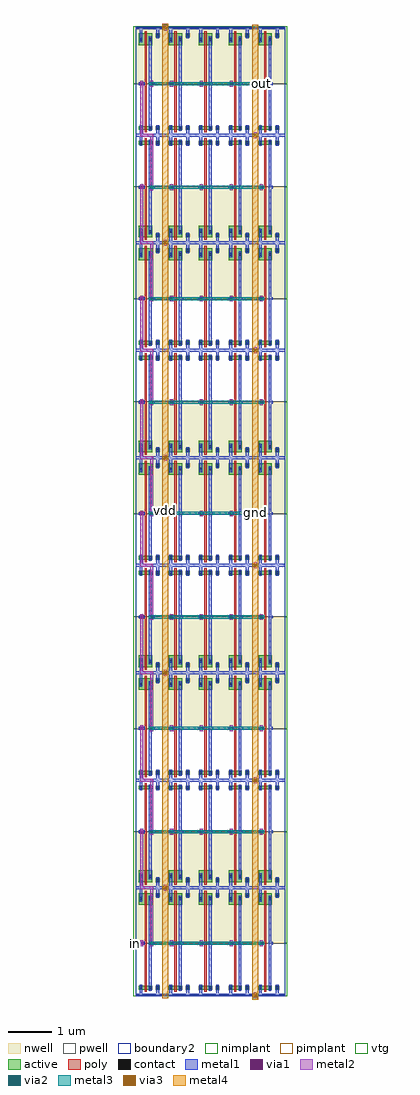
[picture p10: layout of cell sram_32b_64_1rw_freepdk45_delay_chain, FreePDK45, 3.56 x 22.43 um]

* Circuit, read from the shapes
.subckt sram_32b_64_1rw_freepdk45_delay_chain gnd in out vdd
M1 sram_32b_64_1rw_freepdk45_pinv_18_1/A in gnd gnd nfet w=0.09u l=0.05u
M2 sram_32b_64_1rw_freepdk45_pinv_18_10/A sram_32b_64_1rw_freepdk45_pinv_18_1/A gnd gnd nfet w=0.09u l=0.05u
M3 sram_32b_64_1rw_freepdk45_pinv_18_11/A sram_32b_64_1rw_freepdk45_pinv_18_10/A gnd gnd nfet w=0.09u l=0.05u
M4 sram_32b_64_1rw_freepdk45_pinv_18_16/A sram_32b_64_1rw_freepdk45_pinv_18_11/A gnd gnd nfet w=0.09u l=0.05u
M5 sram_32b_64_1rw_freepdk45_pinv_18_21/A sram_32b_64_1rw_freepdk45_pinv_18_16/A gnd gnd nfet w=0.09u l=0.05u
M6 sram_32b_64_1rw_freepdk45_pinv_18_26/A sram_32b_64_1rw_freepdk45_pinv_18_21/A gnd gnd nfet w=0.09u l=0.05u
M7 sram_32b_64_1rw_freepdk45_pinv_18_31/A sram_32b_64_1rw_freepdk45_pinv_18_26/A gnd gnd nfet w=0.09u l=0.05u
M8 sram_32b_64_1rw_freepdk45_pinv_18_36/A sram_32b_64_1rw_freepdk45_pinv_18_31/A gnd gnd nfet w=0.09u l=0.05u
M9 out sram_32b_64_1rw_freepdk45_pinv_18_36/A gnd gnd nfet w=0.09u l=0.05u
M10 sram_32b_64_1rw_freepdk45_pinv_18_1/Z sram_32b_64_1rw_freepdk45_pinv_18_1/A gnd gnd nfet w=0.09u l=0.05u
M11 sram_32b_64_1rw_freepdk45_pinv_18_6/Z sram_32b_64_1rw_freepdk45_pinv_18_10/A gnd gnd nfet w=0.09u l=0.05u
M12 sram_32b_64_1rw_freepdk45_pinv_18_11/Z sram_32b_64_1rw_freepdk45_pinv_18_11/A gnd gnd nfet w=0.09u l=0.05u
M13 sram_32b_64_1rw_freepdk45_pinv_18_16/Z sram_32b_64_1rw_freepdk45_pinv_18_16/A gnd gnd nfet w=0.09u l=0.05u
M14 sram_32b_64_1rw_freepdk45_pinv_18_21/Z sram_32b_64_1rw_freepdk45_pinv_18_21/A gnd gnd nfet w=0.09u l=0.05u
M15 sram_32b_64_1rw_freepdk45_pinv_18_26/Z sram_32b_64_1rw_freepdk45_pinv_18_26/A gnd gnd nfet w=0.09u l=0.05u
M16 sram_32b_64_1rw_freepdk45_pinv_18_31/Z sram_32b_64_1rw_freepdk45_pinv_18_31/A gnd gnd nfet w=0.09u l=0.05u
M17 sram_32b_64_1rw_freepdk45_pinv_18_36/Z sram_32b_64_1rw_freepdk45_pinv_18_36/A gnd gnd nfet w=0.09u l=0.05u
M18 sram_32b_64_1rw_freepdk45_pinv_18_41/Z out gnd gnd nfet w=0.09u l=0.05u
M19 sram_32b_64_1rw_freepdk45_pinv_18_2/Z sram_32b_64_1rw_freepdk45_pinv_18_1/A gnd gnd nfet w=0.09u l=0.05u
M20 sram_32b_64_1rw_freepdk45_pinv_18_7/Z sram_32b_64_1rw_freepdk45_pinv_18_10/A gnd gnd nfet w=0.09u l=0.05u
M21 sram_32b_64_1rw_freepdk45_pinv_18_12/Z sram_32b_64_1rw_freepdk45_pinv_18_11/A gnd gnd nfet w=0.09u l=0.05u
M22 sram_32b_64_1rw_freepdk45_pinv_18_17/Z sram_32b_64_1rw_freepdk45_pinv_18_16/A gnd gnd nfet w=0.09u l=0.05u
M23 sram_32b_64_1rw_freepdk45_pinv_18_22/Z sram_32b_64_1rw_freepdk45_pinv_18_21/A gnd gnd nfet w=0.09u l=0.05u
M24 sram_32b_64_1rw_freepdk45_pinv_18_27/Z sram_32b_64_1rw_freepdk45_pinv_18_26/A gnd gnd nfet w=0.09u l=0.05u
M25 sram_32b_64_1rw_freepdk45_pinv_18_32/Z sram_32b_64_1rw_freepdk45_pinv_18_31/A gnd gnd nfet w=0.09u l=0.05u
M26 sram_32b_64_1rw_freepdk45_pinv_18_37/Z sram_32b_64_1rw_freepdk45_pinv_18_36/A gnd gnd nfet w=0.09u l=0.05u
M27 sram_32b_64_1rw_freepdk45_pinv_18_42/Z out gnd gnd nfet w=0.09u l=0.05u
M28 sram_32b_64_1rw_freepdk45_pinv_18_3/Z sram_32b_64_1rw_freepdk45_pinv_18_1/A gnd gnd nfet w=0.09u l=0.05u
M29 sram_32b_64_1rw_freepdk45_pinv_18_8/Z sram_32b_64_1rw_freepdk45_pinv_18_10/A gnd gnd nfet w=0.09u l=0.05u
M30 sram_32b_64_1rw_freepdk45_pinv_18_13/Z sram_32b_64_1rw_freepdk45_pinv_18_11/A gnd gnd nfet w=0.09u l=0.05u
M31 sram_32b_64_1rw_freepdk45_pinv_18_18/Z sram_32b_64_1rw_freepdk45_pinv_18_16/A gnd gnd nfet w=0.09u l=0.05u
M32 sram_32b_64_1rw_freepdk45_pinv_18_23/Z sram_32b_64_1rw_freepdk45_pinv_18_21/A gnd gnd nfet w=0.09u l=0.05u
M33 sram_32b_64_1rw_freepdk45_pinv_18_28/Z sram_32b_64_1rw_freepdk45_pinv_18_26/A gnd gnd nfet w=0.09u l=0.05u
M34 sram_32b_64_1rw_freepdk45_pinv_18_33/Z sram_32b_64_1rw_freepdk45_pinv_18_31/A gnd gnd nfet w=0.09u l=0.05u
M35 sram_32b_64_1rw_freepdk45_pinv_18_38/Z sram_32b_64_1rw_freepdk45_pinv_18_36/A gnd gnd nfet w=0.09u l=0.05u
M36 sram_32b_64_1rw_freepdk45_pinv_18_43/Z out gnd gnd nfet w=0.09u l=0.05u
M37 sram_32b_64_1rw_freepdk45_pinv_18_4/Z sram_32b_64_1rw_freepdk45_pinv_18_1/A gnd gnd nfet w=0.09u l=0.05u
M38 sram_32b_64_1rw_freepdk45_pinv_18_9/Z sram_32b_64_1rw_freepdk45_pinv_18_10/A gnd gnd nfet w=0.09u l=0.05u
M39 sram_32b_64_1rw_freepdk45_pinv_18_14/Z sram_32b_64_1rw_freepdk45_pinv_18_11/A gnd gnd nfet w=0.09u l=0.05u
M40 sram_32b_64_1rw_freepdk45_pinv_18_19/Z sram_32b_64_1rw_freepdk45_pinv_18_16/A gnd gnd nfet w=0.09u l=0.05u
M41 sram_32b_64_1rw_freepdk45_pinv_18_24/Z sram_32b_64_1rw_freepdk45_pinv_18_21/A gnd gnd nfet w=0.09u l=0.05u
M42 sram_32b_64_1rw_freepdk45_pinv_18_29/Z sram_32b_64_1rw_freepdk45_pinv_18_26/A gnd gnd nfet w=0.09u l=0.05u
M43 sram_32b_64_1rw_freepdk45_pinv_18_34/Z sram_32b_64_1rw_freepdk45_pinv_18_31/A gnd gnd nfet w=0.09u l=0.05u
M44 sram_32b_64_1rw_freepdk45_pinv_18_39/Z sram_32b_64_1rw_freepdk45_pinv_18_36/A gnd gnd nfet w=0.09u l=0.05u
M45 sram_32b_64_1rw_freepdk45_pinv_18_44/Z out gnd gnd nfet w=0.09u l=0.05u
M46 sram_32b_64_1rw_freepdk45_pinv_18_1/A in vdd vdd pfet w=0.27u l=0.05u
M47 sram_32b_64_1rw_freepdk45_pinv_18_10/A sram_32b_64_1rw_freepdk45_pinv_18_1/A vdd vdd pfet w=0.27u l=0.05u
M48 sram_32b_64_1rw_freepdk45_pinv_18_11/A sram_32b_64_1rw_freepdk45_pinv_18_10/A vdd vdd pfet w=0.27u l=0.05u
M49 sram_32b_64_1rw_freepdk45_pinv_18_16/A sram_32b_64_1rw_freepdk45_pinv_18_11/A vdd vdd pfet w=0.27u l=0.05u
M50 sram_32b_64_1rw_freepdk45_pinv_18_21/A sram_32b_64_1rw_freepdk45_pinv_18_16/A vdd vdd pfet w=0.27u l=0.05u
M51 sram_32b_64_1rw_freepdk45_pinv_18_26/A sram_32b_64_1rw_freepdk45_pinv_18_21/A vdd vdd pfet w=0.27u l=0.05u
M52 sram_32b_64_1rw_freepdk45_pinv_18_31/A sram_32b_64_1rw_freepdk45_pinv_18_26/A vdd vdd pfet w=0.27u l=0.05u
M53 sram_32b_64_1rw_freepdk45_pinv_18_36/A sram_32b_64_1rw_freepdk45_pinv_18_31/A vdd vdd pfet w=0.27u l=0.05u
M54 out sram_32b_64_1rw_freepdk45_pinv_18_36/A vdd vdd pfet w=0.27u l=0.05u
M55 sram_32b_64_1rw_freepdk45_pinv_18_1/Z sram_32b_64_1rw_freepdk45_pinv_18_1/A vdd vdd pfet w=0.27u l=0.05u
M56 sram_32b_64_1rw_freepdk45_pinv_18_6/Z sram_32b_64_1rw_freepdk45_pinv_18_10/A vdd vdd pfet w=0.27u l=0.05u
M57 sram_32b_64_1rw_freepdk45_pinv_18_11/Z sram_32b_64_1rw_freepdk45_pinv_18_11/A vdd vdd pfet w=0.27u l=0.05u
M58 sram_32b_64_1rw_freepdk45_pinv_18_16/Z sram_32b_64_1rw_freepdk45_pinv_18_16/A vdd vdd pfet w=0.27u l=0.05u
M59 sram_32b_64_1rw_freepdk45_pinv_18_21/Z sram_32b_64_1rw_freepdk45_pinv_18_21/A vdd vdd pfet w=0.27u l=0.05u
M60 sram_32b_64_1rw_freepdk45_pinv_18_26/Z sram_32b_64_1rw_freepdk45_pinv_18_26/A vdd vdd pfet w=0.27u l=0.05u
M61 sram_32b_64_1rw_freepdk45_pinv_18_31/Z sram_32b_64_1rw_freepdk45_pinv_18_31/A vdd vdd pfet w=0.27u l=0.05u
M62 sram_32b_64_1rw_freepdk45_pinv_18_36/Z sram_32b_64_1rw_freepdk45_pinv_18_36/A vdd vdd pfet w=0.27u l=0.05u
M63 sram_32b_64_1rw_freepdk45_pinv_18_41/Z out vdd vdd pfet w=0.27u l=0.05u
M64 sram_32b_64_1rw_freepdk45_pinv_18_2/Z sram_32b_64_1rw_freepdk45_pinv_18_1/A vdd vdd pfet w=0.27u l=0.05u
M65 sram_32b_64_1rw_freepdk45_pinv_18_7/Z sram_32b_64_1rw_freepdk45_pinv_18_10/A vdd vdd pfet w=0.27u l=0.05u
M66 sram_32b_64_1rw_freepdk45_pinv_18_12/Z sram_32b_64_1rw_freepdk45_pinv_18_11/A vdd vdd pfet w=0.27u l=0.05u
M67 sram_32b_64_1rw_freepdk45_pinv_18_17/Z sram_32b_64_1rw_freepdk45_pinv_18_16/A vdd vdd pfet w=0.27u l=0.05u
M68 sram_32b_64_1rw_freepdk45_pinv_18_22/Z sram_32b_64_1rw_freepdk45_pinv_18_21/A vdd vdd pfet w=0.27u l=0.05u
M69 sram_32b_64_1rw_freepdk45_pinv_18_27/Z sram_32b_64_1rw_freepdk45_pinv_18_26/A vdd vdd pfet w=0.27u l=0.05u
M70 sram_32b_64_1rw_freepdk45_pinv_18_32/Z sram_32b_64_1rw_freepdk45_pinv_18_31/A vdd vdd pfet w=0.27u l=0.05u
M71 sram_32b_64_1rw_freepdk45_pinv_18_37/Z sram_32b_64_1rw_freepdk45_pinv_18_36/A vdd vdd pfet w=0.27u l=0.05u
M72 sram_32b_64_1rw_freepdk45_pinv_18_42/Z out vdd vdd pfet w=0.27u l=0.05u
M73 sram_32b_64_1rw_freepdk45_pinv_18_3/Z sram_32b_64_1rw_freepdk45_pinv_18_1/A vdd vdd pfet w=0.27u l=0.05u
M74 sram_32b_64_1rw_freepdk45_pinv_18_8/Z sram_32b_64_1rw_freepdk45_pinv_18_10/A vdd vdd pfet w=0.27u l=0.05u
M75 sram_32b_64_1rw_freepdk45_pinv_18_13/Z sram_32b_64_1rw_freepdk45_pinv_18_11/A vdd vdd pfet w=0.27u l=0.05u
M76 sram_32b_64_1rw_freepdk45_pinv_18_18/Z sram_32b_64_1rw_freepdk45_pinv_18_16/A vdd vdd pfet w=0.27u l=0.05u
M77 sram_32b_64_1rw_freepdk45_pinv_18_23/Z sram_32b_64_1rw_freepdk45_pinv_18_21/A vdd vdd pfet w=0.27u l=0.05u
M78 sram_32b_64_1rw_freepdk45_pinv_18_28/Z sram_32b_64_1rw_freepdk45_pinv_18_26/A vdd vdd pfet w=0.27u l=0.05u
M79 sram_32b_64_1rw_freepdk45_pinv_18_33/Z sram_32b_64_1rw_freepdk45_pinv_18_31/A vdd vdd pfet w=0.27u l=0.05u
M80 sram_32b_64_1rw_freepdk45_pinv_18_38/Z sram_32b_64_1rw_freepdk45_pinv_18_36/A vdd vdd pfet w=0.27u l=0.05u
M81 sram_32b_64_1rw_freepdk45_pinv_18_43/Z out vdd vdd pfet w=0.27u l=0.05u
M82 sram_32b_64_1rw_freepdk45_pinv_18_4/Z sram_32b_64_1rw_freepdk45_pinv_18_1/A vdd vdd pfet w=0.27u l=0.05u
M83 sram_32b_64_1rw_freepdk45_pinv_18_9/Z sram_32b_64_1rw_freepdk45_pinv_18_10/A vdd vdd pfet w=0.27u l=0.05u
M84 sram_32b_64_1rw_freepdk45_pinv_18_14/Z sram_32b_64_1rw_freepdk45_pinv_18_11/A vdd vdd pfet w=0.27u l=0.05u
M85 sram_32b_64_1rw_freepdk45_pinv_18_19/Z sram_32b_64_1rw_freepdk45_pinv_18_16/A vdd vdd pfet w=0.27u l=0.05u
M86 sram_32b_64_1rw_freepdk45_pinv_18_24/Z sram_32b_64_1rw_freepdk45_pinv_18_21/A vdd vdd pfet w=0.27u l=0.05u
M87 sram_32b_64_1rw_freepdk45_pinv_18_29/Z sram_32b_64_1rw_freepdk45_pinv_18_26/A vdd vdd pfet w=0.27u l=0.05u
M88 sram_32b_64_1rw_freepdk45_pinv_18_34/Z sram_32b_64_1rw_freepdk45_pinv_18_31/A vdd vdd pfet w=0.27u l=0.05u
M89 sram_32b_64_1rw_freepdk45_pinv_18_39/Z sram_32b_64_1rw_freepdk45_pinv_18_36/A vdd vdd pfet w=0.27u l=0.05u
M90 sram_32b_64_1rw_freepdk45_pinv_18_44/Z out vdd vdd pfet w=0.27u l=0.05u
.ends

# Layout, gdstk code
import gdstk
lib = gdstk.Library(unit=1e-6, precision=5e-10)
def R(c, l, rs):  # rectangles x0, y0, x1, y1
    for r in rs: c.add(gdstk.rectangle(r[:2], r[2:], *l))
def A(c, l, x, y, w, h, nx, ny, dx, dy):  # array of equal rectangles
    R(c, l, [(x+i*dx, y+j*dy, x+i*dx+w, y+j*dy+h) for i in range(nx) for j in range(ny)])
active = (1, 0)
pwell = (2, 0)
nwell = (3, 0)
nimplant = (4, 0)
pimplant = (5, 0)
vtg = (6, 0)
poly = (9, 0)
contact = (10, 0)
metal1 = (11, 0)
via1 = (12, 0)
metal2 = (13, 0)
via2 = (14, 0)
metal3 = (15, 0)
via3 = (16, 0)
metal4 = (17, 0)
boundary2 = (239, 0)

sram_32b_64_1rw_freepdk4 = lib.new_cell('sram_32b_64_1rw_freepdk45_contact_11')
R(sram_32b_64_1rw_freepdk4, active, [(0,0.0225,0.09,0.1125)])
R(sram_32b_64_1rw_freepdk4, nwell, [(-0.055,-0.0325,0.145,0.1675)])
R(sram_32b_64_1rw_freepdk4, pimplant, [(0,0.0225,0.09,0.1125)])
R(sram_32b_64_1rw_freepdk4, contact, [(0.0125,0.035,0.0775,0.1)])
R(sram_32b_64_1rw_freepdk4, metal1, [(0.0125,0,0.0775,0.135)])
R(sram_32b_64_1rw_freepdk4, boundary2, [(-0.055,-0.0325,0.145,0.1675)])

c_sram_32b_64_1rw_freepdk4 = lib.new_cell('sram_32b_64_1rw_freepdk45_pmos_m1_w0_270_sm1_dm1_da_p')
R(c_sram_32b_64_1rw_freepdk4, active, [(0,0,0.305,0.27)])
R(c_sram_32b_64_1rw_freepdk4, nwell, [(-0.08,-0.08,0.385,0.35)])
R(c_sram_32b_64_1rw_freepdk4, pimplant, [(0,0,0.305,0.27)])
R(c_sram_32b_64_1rw_freepdk4, vtg, [(-0.08,-0.08,0.385,0.35)])
R(c_sram_32b_64_1rw_freepdk4, poly, [(0.1275,-0.055,0.1775,0.325), (0.1275,-0.055,0.1775,0.325)])
R(c_sram_32b_64_1rw_freepdk4, metal1, [(0.0125,0.0675,0.0775,0.2025), (0.2275,0.0675,0.2925,0.2025)])
R(c_sram_32b_64_1rw_freepdk4, boundary2, [(-0.08,-0.08,0.385,0.35)])
c_sram_32b_64_1rw_freepdk4.add(gdstk.Reference(sram_32b_64_1rw_freepdk4, (0,0.0675)))
c_sram_32b_64_1rw_freepdk4.add(gdstk.Reference(sram_32b_64_1rw_freepdk4, (0.215,0.0675)))
c_sram_32b_64_1rw_freepdk4.add(gdstk.Label('G', (0.1525,0.135), layer=9, texttype=0))
c_sram_32b_64_1rw_freepdk4.add(gdstk.Label('S', (0.045,0.135), layer=11, texttype=0))
c_sram_32b_64_1rw_freepdk4.add(gdstk.Label('D', (0.26,0.135), layer=11, texttype=0))

c_sram_32b_64_1rw_freepdk4_ = lib.new_cell('sram_32b_64_1rw_freepdk45_contact_10')
R(c_sram_32b_64_1rw_freepdk4_, active, [(0,0.0225,0.09,0.1125)])
R(c_sram_32b_64_1rw_freepdk4_, pwell, [(-0.055,-0.0325,0.145,0.1675)])
R(c_sram_32b_64_1rw_freepdk4_, nimplant, [(0,0.0225,0.09,0.1125)])
R(c_sram_32b_64_1rw_freepdk4_, contact, [(0.0125,0.035,0.0775,0.1)])
R(c_sram_32b_64_1rw_freepdk4_, metal1, [(0.0125,0,0.0775,0.135)])
R(c_sram_32b_64_1rw_freepdk4_, boundary2, [(-0.055,-0.0325,0.145,0.1675)])

c_sram_32b_64_1rw_freepdk4__ = lib.new_cell('sram_32b_64_1rw_freepdk45_nmos_m1_w0_090_sm1_dm1_da_p')
R(c_sram_32b_64_1rw_freepdk4__, active, [(0,0,0.305,0.09)])
R(c_sram_32b_64_1rw_freepdk4__, pwell, [(-0.08,-0.08,0.385,0.17)])
R(c_sram_32b_64_1rw_freepdk4__, nimplant, [(0,0,0.305,0.09)])
R(c_sram_32b_64_1rw_freepdk4__, vtg, [(-0.08,-0.08,0.385,0.17)])
R(c_sram_32b_64_1rw_freepdk4__, poly, [(0.1275,-0.055,0.1775,0.145), (0.1275,-0.055,0.1775,0.145)])
R(c_sram_32b_64_1rw_freepdk4__, metal1, [(0.0125,-0.0225,0.0775,0.1125), (0.2275,-0.0225,0.2925,0.1125)])
R(c_sram_32b_64_1rw_freepdk4__, boundary2, [(-0.08,-0.08,0.385,0.17)])
c_sram_32b_64_1rw_freepdk4__.add(gdstk.Reference(c_sram_32b_64_1rw_freepdk4_, (0,-0.0225)))
c_sram_32b_64_1rw_freepdk4__.add(gdstk.Reference(c_sram_32b_64_1rw_freepdk4_, (0.215,-0.0225)))
c_sram_32b_64_1rw_freepdk4__.add(gdstk.Label('G', (0.1525,0.045), layer=9, texttype=0))
c_sram_32b_64_1rw_freepdk4__.add(gdstk.Label('S', (0.045,0.045), layer=11, texttype=0))
c_sram_32b_64_1rw_freepdk4__.add(gdstk.Label('D', (0.26,0.045), layer=11, texttype=0))

c_sram_32b_64_1rw_freepdk4___ = lib.new_cell('sram_32b_64_1rw_freepdk45_contact_12')
R(c_sram_32b_64_1rw_freepdk4___, active, [(0,0.0225,0.09,0.1125)])
R(c_sram_32b_64_1rw_freepdk4___, nwell, [(-0.055,-0.0325,0.145,0.1675)])
R(c_sram_32b_64_1rw_freepdk4___, nimplant, [(0,0.0225,0.09,0.1125)])
R(c_sram_32b_64_1rw_freepdk4___, contact, [(0.0125,0.035,0.0775,0.1)])
R(c_sram_32b_64_1rw_freepdk4___, metal1, [(0.0125,0,0.0775,0.135)])
R(c_sram_32b_64_1rw_freepdk4___, boundary2, [(-0.055,-0.0325,0.145,0.1675)])

c_sram_32b_64_1rw_freepdk4____ = lib.new_cell('sram_32b_64_1rw_freepdk45_contact_13')
R(c_sram_32b_64_1rw_freepdk4____, active, [(0,0.0225,0.09,0.1125)])
R(c_sram_32b_64_1rw_freepdk4____, pwell, [(-0.055,-0.0325,0.145,0.1675)])
R(c_sram_32b_64_1rw_freepdk4____, pimplant, [(0,0.0225,0.09,0.1125)])
R(c_sram_32b_64_1rw_freepdk4____, contact, [(0.0125,0.035,0.0775,0.1)])
R(c_sram_32b_64_1rw_freepdk4____, metal1, [(0.0125,0,0.0775,0.135)])
R(c_sram_32b_64_1rw_freepdk4____, boundary2, [(-0.055,-0.0325,0.145,0.1675)])

c_sram_32b_64_1rw_freepdk4_____ = lib.new_cell('sram_32b_64_1rw_freepdk45_contact_14')
R(c_sram_32b_64_1rw_freepdk4_____, poly, [(0.03,0,0.105,0.075)])
R(c_sram_32b_64_1rw_freepdk4_____, contact, [(0.035,0.005,0.1,0.07)])
R(c_sram_32b_64_1rw_freepdk4_____, metal1, [(0,0.005,0.135,0.07)])
R(c_sram_32b_64_1rw_freepdk4_____, boundary2, [(0,0,0.135,0.075)])

c_sram_32b_64_1rw_freepdk4______ = lib.new_cell('sram_32b_64_1rw_freepdk45_pinv_18')
R(c_sram_32b_64_1rw_freepdk4______, pwell, [(-0.055,-0.0325,0.7425,1.185)])
R(c_sram_32b_64_1rw_freepdk4______, nwell, [(-0.055,1.185,0.7425,2.505)])
R(c_sram_32b_64_1rw_freepdk4______, vtg, [(-0.055,-0.0325,0.7425,1.185), (-0.055,1.185,0.7425,2.505)])
R(c_sram_32b_64_1rw_freepdk4______, poly, [(0.2075,0.27,0.2575,2.02), (0.14,1.1525,0.2075,1.2275)])
R(c_sram_32b_64_1rw_freepdk4______, metal1, [(0,-0.0325,0.6875,0.0325), (0.0925,-0.0325,0.1575,0.1025), (0.4775,0,0.5425,0.17), (0.3075,0.1025,0.3725,2.2775), (0.0725,1.1575,0.2075,1.2225), (0.34,1.1575,0.405,1.2225), (0.0925,2.1425,0.1575,2.5025), (0.4775,2.3,0.5425,2.47), (0,2.4375,0.6875,2.5025)])
R(c_sram_32b_64_1rw_freepdk4______, boundary2, [(0,0,0.6875,2.47), (0,0,0.6875,2.47)])
c_sram_32b_64_1rw_freepdk4______.add(gdstk.Reference(c_sram_32b_64_1rw_freepdk4, (0.08,2.075)))
c_sram_32b_64_1rw_freepdk4______.add(gdstk.Reference(c_sram_32b_64_1rw_freepdk4__, (0.08,0.125)))
c_sram_32b_64_1rw_freepdk4______.add(gdstk.Reference(c_sram_32b_64_1rw_freepdk4___, (0.465,2.2325)))
c_sram_32b_64_1rw_freepdk4______.add(gdstk.Reference(c_sram_32b_64_1rw_freepdk4____, (0.465,0.1025)))
c_sram_32b_64_1rw_freepdk4______.add(gdstk.Reference(c_sram_32b_64_1rw_freepdk4_____, (0.0725,1.1525)))
c_sram_32b_64_1rw_freepdk4______.add(gdstk.Label('A', (0.14,1.19), layer=11, texttype=0))
c_sram_32b_64_1rw_freepdk4______.add(gdstk.Label('Z', (0.3725,1.19), layer=11, texttype=0))
c_sram_32b_64_1rw_freepdk4______.add(gdstk.Label('gnd', (0.344,0), layer=11, texttype=0))
c_sram_32b_64_1rw_freepdk4______.add(gdstk.Label('vdd', (0.344,2.47), layer=11, texttype=0))

c_sram_32b_64_1rw_freepdk4_______ = lib.new_cell('sram_32b_64_1rw_freepdk45_contact_17')
R(c_sram_32b_64_1rw_freepdk4_______, metal1, [(0,0.035,0.135,0.1)])
R(c_sram_32b_64_1rw_freepdk4_______, via1, [(0.035,0.035,0.1,0.1)])
R(c_sram_32b_64_1rw_freepdk4_______, metal2, [(0.0325,0,0.1025,0.135)])
R(c_sram_32b_64_1rw_freepdk4_______, boundary2, [(0,0,0.135,0.135)])

c_sram_32b_64_1rw_freepdk4________ = lib.new_cell('sram_32b_64_1rw_freepdk45_contact_18')
R(c_sram_32b_64_1rw_freepdk4________, metal2, [(0.0325,0,0.1025,0.135)])
R(c_sram_32b_64_1rw_freepdk4________, via2, [(0.035,0.035,0.1,0.1)])
R(c_sram_32b_64_1rw_freepdk4________, metal3, [(0,0.0325,0.135,0.1025)])
R(c_sram_32b_64_1rw_freepdk4________, boundary2, [(0,0,0.135,0.135)])

c_sram_32b_64_1rw_freepdk4_________ = lib.new_cell('sram_32b_64_1rw_freepdk45_contact_21')
R(c_sram_32b_64_1rw_freepdk4_________, metal3, [(0,0.035,0.14,0.105)])
R(c_sram_32b_64_1rw_freepdk4_________, via3, [(0.035,0.035,0.105,0.105)])
R(c_sram_32b_64_1rw_freepdk4_________, metal4, [(0,0,0.14,0.14)])
R(c_sram_32b_64_1rw_freepdk4_________, boundary2, [(0,0,0.14,0.14)])

c_sram_32b_64_1rw_freepdk4__________ = lib.new_cell('sram_32b_64_1rw_freepdk45_delay_chain')
R(c_sram_32b_64_1rw_freepdk4__________, metal1, [(0,1.1575,0.14,1.2225), (2.8575,20.9175,2.9225,20.9825), (2.8575,20.9175,2.9225,20.9825)])
A(c_sram_32b_64_1rw_freepdk4__________, metal2, 0.3375, 1.19, 0.07, 1.28, 1, 4, 0, 4.94)
A(c_sram_32b_64_1rw_freepdk4__________, metal2, 0.105, 2.435, 0.07, 0.07, 1, 8, 0, 2.47)
A(c_sram_32b_64_1rw_freepdk4__________, metal2, 0.14, 2.435, 0.2325, 0.07, 1, 8, 0, 2.47)
A(c_sram_32b_64_1rw_freepdk4__________, metal2, 0.3375, 2.435, 0.07, 0.07, 1, 8, 0, 2.47)
A(c_sram_32b_64_1rw_freepdk4__________, metal2, 0.105, 2.47, 0.07, 1.28, 1, 4, 0, 4.94)
A(c_sram_32b_64_1rw_freepdk4__________, metal2, 0.3375, 3.75, 0.07, 1.19, 1, 4, 0, 4.94)
A(c_sram_32b_64_1rw_freepdk4__________, metal2, 0.105, 4.94, 0.07, 1.19, 1, 4, 0, 4.94)
R(c_sram_32b_64_1rw_freepdk4__________, metal2, [(-0.035,1.155,0.035,1.225)])
R(c_sram_32b_64_1rw_freepdk4__________, metal3, [(0.3725,1.155,2.89,1.225), (0.3725,3.715,2.89,3.785), (0.3725,6.095,2.89,6.165), (0.3725,8.655,2.89,8.725), (0.3725,11.035,2.89,11.105), (0.3725,13.595,2.89,13.665), (0.3725,15.975,2.89,16.045), (0.3725,18.535,2.89,18.605), (0.3725,20.915,2.89,20.985)])
R(c_sram_32b_64_1rw_freepdk4__________, metal4, [(2.68,-0.1025,2.82,22.3), (0.6175,-0.07,0.7575,22.3325)])
R(c_sram_32b_64_1rw_freepdk4__________, boundary2, [(0,0,3.4375,22.23)])
c_sram_32b_64_1rw_freepdk4__________.add(gdstk.Reference(c_sram_32b_64_1rw_freepdk4______, (0,0)))
c_sram_32b_64_1rw_freepdk4__________.add(gdstk.Reference(c_sram_32b_64_1rw_freepdk4______, (0.6875,0)))
c_sram_32b_64_1rw_freepdk4__________.add(gdstk.Reference(c_sram_32b_64_1rw_freepdk4______, (1.375,0)))
c_sram_32b_64_1rw_freepdk4__________.add(gdstk.Reference(c_sram_32b_64_1rw_freepdk4______, (2.0625,0)))
c_sram_32b_64_1rw_freepdk4__________.add(gdstk.Reference(c_sram_32b_64_1rw_freepdk4______, (2.75,0)))
c_sram_32b_64_1rw_freepdk4__________.add(gdstk.Reference(c_sram_32b_64_1rw_freepdk4______, (0,4.94), x_reflection=True))
c_sram_32b_64_1rw_freepdk4__________.add(gdstk.Reference(c_sram_32b_64_1rw_freepdk4______, (0.6875,4.94), x_reflection=True))
c_sram_32b_64_1rw_freepdk4__________.add(gdstk.Reference(c_sram_32b_64_1rw_freepdk4______, (1.375,4.94), x_reflection=True))
c_sram_32b_64_1rw_freepdk4__________.add(gdstk.Reference(c_sram_32b_64_1rw_freepdk4______, (2.0625,4.94), x_reflection=True))
c_sram_32b_64_1rw_freepdk4__________.add(gdstk.Reference(c_sram_32b_64_1rw_freepdk4______, (2.75,4.94), x_reflection=True))
c_sram_32b_64_1rw_freepdk4__________.add(gdstk.Reference(c_sram_32b_64_1rw_freepdk4______, (0,4.94)))
c_sram_32b_64_1rw_freepdk4__________.add(gdstk.Reference(c_sram_32b_64_1rw_freepdk4______, (0.6875,4.94)))
c_sram_32b_64_1rw_freepdk4__________.add(gdstk.Reference(c_sram_32b_64_1rw_freepdk4______, (1.375,4.94)))
c_sram_32b_64_1rw_freepdk4__________.add(gdstk.Reference(c_sram_32b_64_1rw_freepdk4______, (2.0625,4.94)))
c_sram_32b_64_1rw_freepdk4__________.add(gdstk.Reference(c_sram_32b_64_1rw_freepdk4______, (2.75,4.94)))
c_sram_32b_64_1rw_freepdk4__________.add(gdstk.Reference(c_sram_32b_64_1rw_freepdk4______, (0,9.88), x_reflection=True))
c_sram_32b_64_1rw_freepdk4__________.add(gdstk.Reference(c_sram_32b_64_1rw_freepdk4______, (0.6875,9.88), x_reflection=True))
c_sram_32b_64_1rw_freepdk4__________.add(gdstk.Reference(c_sram_32b_64_1rw_freepdk4______, (1.375,9.88), x_reflection=True))
c_sram_32b_64_1rw_freepdk4__________.add(gdstk.Reference(c_sram_32b_64_1rw_freepdk4______, (2.0625,9.88), x_reflection=True))
c_sram_32b_64_1rw_freepdk4__________.add(gdstk.Reference(c_sram_32b_64_1rw_freepdk4______, (2.75,9.88), x_reflection=True))
c_sram_32b_64_1rw_freepdk4__________.add(gdstk.Reference(c_sram_32b_64_1rw_freepdk4______, (0,9.88)))
c_sram_32b_64_1rw_freepdk4__________.add(gdstk.Reference(c_sram_32b_64_1rw_freepdk4______, (0.6875,9.88)))
c_sram_32b_64_1rw_freepdk4__________.add(gdstk.Reference(c_sram_32b_64_1rw_freepdk4______, (1.375,9.88)))
c_sram_32b_64_1rw_freepdk4__________.add(gdstk.Reference(c_sram_32b_64_1rw_freepdk4______, (2.0625,9.88)))
c_sram_32b_64_1rw_freepdk4__________.add(gdstk.Reference(c_sram_32b_64_1rw_freepdk4______, (2.75,9.88)))
c_sram_32b_64_1rw_freepdk4__________.add(gdstk.Reference(c_sram_32b_64_1rw_freepdk4______, (0,14.82), x_reflection=True))
c_sram_32b_64_1rw_freepdk4__________.add(gdstk.Reference(c_sram_32b_64_1rw_freepdk4______, (0.6875,14.82), x_reflection=True))
c_sram_32b_64_1rw_freepdk4__________.add(gdstk.Reference(c_sram_32b_64_1rw_freepdk4______, (1.375,14.82), x_reflection=True))
c_sram_32b_64_1rw_freepdk4__________.add(gdstk.Reference(c_sram_32b_64_1rw_freepdk4______, (2.0625,14.82), x_reflection=True))
c_sram_32b_64_1rw_freepdk4__________.add(gdstk.Reference(c_sram_32b_64_1rw_freepdk4______, (2.75,14.82), x_reflection=True))
c_sram_32b_64_1rw_freepdk4__________.add(gdstk.Reference(c_sram_32b_64_1rw_freepdk4______, (0,14.82)))
c_sram_32b_64_1rw_freepdk4__________.add(gdstk.Reference(c_sram_32b_64_1rw_freepdk4______, (0.6875,14.82)))
c_sram_32b_64_1rw_freepdk4__________.add(gdstk.Reference(c_sram_32b_64_1rw_freepdk4______, (1.375,14.82)))
c_sram_32b_64_1rw_freepdk4__________.add(gdstk.Reference(c_sram_32b_64_1rw_freepdk4______, (2.0625,14.82)))
c_sram_32b_64_1rw_freepdk4__________.add(gdstk.Reference(c_sram_32b_64_1rw_freepdk4______, (2.75,14.82)))
c_sram_32b_64_1rw_freepdk4__________.add(gdstk.Reference(c_sram_32b_64_1rw_freepdk4______, (0,19.76), x_reflection=True))
c_sram_32b_64_1rw_freepdk4__________.add(gdstk.Reference(c_sram_32b_64_1rw_freepdk4______, (0.6875,19.76), x_reflection=True))
c_sram_32b_64_1rw_freepdk4__________.add(gdstk.Reference(c_sram_32b_64_1rw_freepdk4______, (1.375,19.76), x_reflection=True))
c_sram_32b_64_1rw_freepdk4__________.add(gdstk.Reference(c_sram_32b_64_1rw_freepdk4______, (2.0625,19.76), x_reflection=True))
c_sram_32b_64_1rw_freepdk4__________.add(gdstk.Reference(c_sram_32b_64_1rw_freepdk4______, (2.75,19.76), x_reflection=True))
c_sram_32b_64_1rw_freepdk4__________.add(gdstk.Reference(c_sram_32b_64_1rw_freepdk4______, (0,19.76)))
c_sram_32b_64_1rw_freepdk4__________.add(gdstk.Reference(c_sram_32b_64_1rw_freepdk4______, (0.6875,19.76)))
c_sram_32b_64_1rw_freepdk4__________.add(gdstk.Reference(c_sram_32b_64_1rw_freepdk4______, (1.375,19.76)))
c_sram_32b_64_1rw_freepdk4__________.add(gdstk.Reference(c_sram_32b_64_1rw_freepdk4______, (2.0625,19.76)))
c_sram_32b_64_1rw_freepdk4__________.add(gdstk.Reference(c_sram_32b_64_1rw_freepdk4______, (2.75,19.76)))
c_sram_32b_64_1rw_freepdk4__________.add(gdstk.Reference(c_sram_32b_64_1rw_freepdk4_______, (0.76,1.1225)))
c_sram_32b_64_1rw_freepdk4__________.add(gdstk.Reference(c_sram_32b_64_1rw_freepdk4________, (0.76,1.1225)))
c_sram_32b_64_1rw_freepdk4__________.add(gdstk.Reference(c_sram_32b_64_1rw_freepdk4_______, (1.4475,1.1225)))
c_sram_32b_64_1rw_freepdk4__________.add(gdstk.Reference(c_sram_32b_64_1rw_freepdk4________, (1.4475,1.1225)))
c_sram_32b_64_1rw_freepdk4__________.add(gdstk.Reference(c_sram_32b_64_1rw_freepdk4_______, (2.135,1.1225)))
c_sram_32b_64_1rw_freepdk4__________.add(gdstk.Reference(c_sram_32b_64_1rw_freepdk4________, (2.135,1.1225)))
c_sram_32b_64_1rw_freepdk4__________.add(gdstk.Reference(c_sram_32b_64_1rw_freepdk4_______, (2.8225,1.1225)))
c_sram_32b_64_1rw_freepdk4__________.add(gdstk.Reference(c_sram_32b_64_1rw_freepdk4________, (2.8225,1.1225)))
c_sram_32b_64_1rw_freepdk4__________.add(gdstk.Reference(c_sram_32b_64_1rw_freepdk4_______, (0.0725,1.1225)))
c_sram_32b_64_1rw_freepdk4__________.add(gdstk.Reference(c_sram_32b_64_1rw_freepdk4_______, (0.305,1.1225)))
c_sram_32b_64_1rw_freepdk4__________.add(gdstk.Reference(c_sram_32b_64_1rw_freepdk4________, (0.305,1.1225)))
c_sram_32b_64_1rw_freepdk4__________.add(gdstk.Reference(c_sram_32b_64_1rw_freepdk4_______, (0.76,3.6825)))
c_sram_32b_64_1rw_freepdk4__________.add(gdstk.Reference(c_sram_32b_64_1rw_freepdk4________, (0.76,3.6825)))
c_sram_32b_64_1rw_freepdk4__________.add(gdstk.Reference(c_sram_32b_64_1rw_freepdk4_______, (1.4475,3.6825)))
c_sram_32b_64_1rw_freepdk4__________.add(gdstk.Reference(c_sram_32b_64_1rw_freepdk4________, (1.4475,3.6825)))
c_sram_32b_64_1rw_freepdk4__________.add(gdstk.Reference(c_sram_32b_64_1rw_freepdk4_______, (2.135,3.6825)))
c_sram_32b_64_1rw_freepdk4__________.add(gdstk.Reference(c_sram_32b_64_1rw_freepdk4________, (2.135,3.6825)))
c_sram_32b_64_1rw_freepdk4__________.add(gdstk.Reference(c_sram_32b_64_1rw_freepdk4_______, (2.8225,3.6825)))
c_sram_32b_64_1rw_freepdk4__________.add(gdstk.Reference(c_sram_32b_64_1rw_freepdk4________, (2.8225,3.6825)))
c_sram_32b_64_1rw_freepdk4__________.add(gdstk.Reference(c_sram_32b_64_1rw_freepdk4_______, (0.0725,3.6825)))
c_sram_32b_64_1rw_freepdk4__________.add(gdstk.Reference(c_sram_32b_64_1rw_freepdk4_______, (0.305,3.6825)))
c_sram_32b_64_1rw_freepdk4__________.add(gdstk.Reference(c_sram_32b_64_1rw_freepdk4________, (0.305,3.6825)))
c_sram_32b_64_1rw_freepdk4__________.add(gdstk.Reference(c_sram_32b_64_1rw_freepdk4_______, (0.76,6.0625)))
c_sram_32b_64_1rw_freepdk4__________.add(gdstk.Reference(c_sram_32b_64_1rw_freepdk4________, (0.76,6.0625)))
c_sram_32b_64_1rw_freepdk4__________.add(gdstk.Reference(c_sram_32b_64_1rw_freepdk4_______, (1.4475,6.0625)))
c_sram_32b_64_1rw_freepdk4__________.add(gdstk.Reference(c_sram_32b_64_1rw_freepdk4________, (1.4475,6.0625)))
c_sram_32b_64_1rw_freepdk4__________.add(gdstk.Reference(c_sram_32b_64_1rw_freepdk4_______, (2.135,6.0625)))
c_sram_32b_64_1rw_freepdk4__________.add(gdstk.Reference(c_sram_32b_64_1rw_freepdk4________, (2.135,6.0625)))
c_sram_32b_64_1rw_freepdk4__________.add(gdstk.Reference(c_sram_32b_64_1rw_freepdk4_______, (2.8225,6.0625)))
c_sram_32b_64_1rw_freepdk4__________.add(gdstk.Reference(c_sram_32b_64_1rw_freepdk4________, (2.8225,6.0625)))
c_sram_32b_64_1rw_freepdk4__________.add(gdstk.Reference(c_sram_32b_64_1rw_freepdk4_______, (0.0725,6.0625)))
c_sram_32b_64_1rw_freepdk4__________.add(gdstk.Reference(c_sram_32b_64_1rw_freepdk4_______, (0.305,6.0625)))
c_sram_32b_64_1rw_freepdk4__________.add(gdstk.Reference(c_sram_32b_64_1rw_freepdk4________, (0.305,6.0625)))
c_sram_32b_64_1rw_freepdk4__________.add(gdstk.Reference(c_sram_32b_64_1rw_freepdk4_______, (0.76,8.6225)))
c_sram_32b_64_1rw_freepdk4__________.add(gdstk.Reference(c_sram_32b_64_1rw_freepdk4________, (0.76,8.6225)))
c_sram_32b_64_1rw_freepdk4__________.add(gdstk.Reference(c_sram_32b_64_1rw_freepdk4_______, (1.4475,8.6225)))
c_sram_32b_64_1rw_freepdk4__________.add(gdstk.Reference(c_sram_32b_64_1rw_freepdk4________, (1.4475,8.6225)))
c_sram_32b_64_1rw_freepdk4__________.add(gdstk.Reference(c_sram_32b_64_1rw_freepdk4_______, (2.135,8.6225)))
c_sram_32b_64_1rw_freepdk4__________.add(gdstk.Reference(c_sram_32b_64_1rw_freepdk4________, (2.135,8.6225)))
c_sram_32b_64_1rw_freepdk4__________.add(gdstk.Reference(c_sram_32b_64_1rw_freepdk4_______, (2.8225,8.6225)))
c_sram_32b_64_1rw_freepdk4__________.add(gdstk.Reference(c_sram_32b_64_1rw_freepdk4________, (2.8225,8.6225)))
c_sram_32b_64_1rw_freepdk4__________.add(gdstk.Reference(c_sram_32b_64_1rw_freepdk4_______, (0.0725,8.6225)))
c_sram_32b_64_1rw_freepdk4__________.add(gdstk.Reference(c_sram_32b_64_1rw_freepdk4_______, (0.305,8.6225)))
c_sram_32b_64_1rw_freepdk4__________.add(gdstk.Reference(c_sram_32b_64_1rw_freepdk4________, (0.305,8.6225)))
c_sram_32b_64_1rw_freepdk4__________.add(gdstk.Reference(c_sram_32b_64_1rw_freepdk4_______, (0.76,11.0025)))
c_sram_32b_64_1rw_freepdk4__________.add(gdstk.Reference(c_sram_32b_64_1rw_freepdk4________, (0.76,11.0025)))
c_sram_32b_64_1rw_freepdk4__________.add(gdstk.Reference(c_sram_32b_64_1rw_freepdk4_______, (1.4475,11.0025)))
c_sram_32b_64_1rw_freepdk4__________.add(gdstk.Reference(c_sram_32b_64_1rw_freepdk4________, (1.4475,11.0025)))
c_sram_32b_64_1rw_freepdk4__________.add(gdstk.Reference(c_sram_32b_64_1rw_freepdk4_______, (2.135,11.0025)))
c_sram_32b_64_1rw_freepdk4__________.add(gdstk.Reference(c_sram_32b_64_1rw_freepdk4________, (2.135,11.0025)))
c_sram_32b_64_1rw_freepdk4__________.add(gdstk.Reference(c_sram_32b_64_1rw_freepdk4_______, (2.8225,11.0025)))
c_sram_32b_64_1rw_freepdk4__________.add(gdstk.Reference(c_sram_32b_64_1rw_freepdk4________, (2.8225,11.0025)))
c_sram_32b_64_1rw_freepdk4__________.add(gdstk.Reference(c_sram_32b_64_1rw_freepdk4_______, (0.0725,11.0025)))
c_sram_32b_64_1rw_freepdk4__________.add(gdstk.Reference(c_sram_32b_64_1rw_freepdk4_______, (0.305,11.0025)))
c_sram_32b_64_1rw_freepdk4__________.add(gdstk.Reference(c_sram_32b_64_1rw_freepdk4________, (0.305,11.0025)))
c_sram_32b_64_1rw_freepdk4__________.add(gdstk.Reference(c_sram_32b_64_1rw_freepdk4_______, (0.76,13.5625)))
c_sram_32b_64_1rw_freepdk4__________.add(gdstk.Reference(c_sram_32b_64_1rw_freepdk4________, (0.76,13.5625)))
c_sram_32b_64_1rw_freepdk4__________.add(gdstk.Reference(c_sram_32b_64_1rw_freepdk4_______, (1.4475,13.5625)))
c_sram_32b_64_1rw_freepdk4__________.add(gdstk.Reference(c_sram_32b_64_1rw_freepdk4________, (1.4475,13.5625)))
c_sram_32b_64_1rw_freepdk4__________.add(gdstk.Reference(c_sram_32b_64_1rw_freepdk4_______, (2.135,13.5625)))
c_sram_32b_64_1rw_freepdk4__________.add(gdstk.Reference(c_sram_32b_64_1rw_freepdk4________, (2.135,13.5625)))
c_sram_32b_64_1rw_freepdk4__________.add(gdstk.Reference(c_sram_32b_64_1rw_freepdk4_______, (2.8225,13.5625)))
c_sram_32b_64_1rw_freepdk4__________.add(gdstk.Reference(c_sram_32b_64_1rw_freepdk4________, (2.8225,13.5625)))
c_sram_32b_64_1rw_freepdk4__________.add(gdstk.Reference(c_sram_32b_64_1rw_freepdk4_______, (0.0725,13.5625)))
c_sram_32b_64_1rw_freepdk4__________.add(gdstk.Reference(c_sram_32b_64_1rw_freepdk4_______, (0.305,13.5625)))
c_sram_32b_64_1rw_freepdk4__________.add(gdstk.Reference(c_sram_32b_64_1rw_freepdk4________, (0.305,13.5625)))
c_sram_32b_64_1rw_freepdk4__________.add(gdstk.Reference(c_sram_32b_64_1rw_freepdk4_______, (0.76,15.9425)))
c_sram_32b_64_1rw_freepdk4__________.add(gdstk.Reference(c_sram_32b_64_1rw_freepdk4________, (0.76,15.9425)))
c_sram_32b_64_1rw_freepdk4__________.add(gdstk.Reference(c_sram_32b_64_1rw_freepdk4_______, (1.4475,15.9425)))
c_sram_32b_64_1rw_freepdk4__________.add(gdstk.Reference(c_sram_32b_64_1rw_freepdk4________, (1.4475,15.9425)))
c_sram_32b_64_1rw_freepdk4__________.add(gdstk.Reference(c_sram_32b_64_1rw_freepdk4_______, (2.135,15.9425)))
c_sram_32b_64_1rw_freepdk4__________.add(gdstk.Reference(c_sram_32b_64_1rw_freepdk4________, (2.135,15.9425)))
c_sram_32b_64_1rw_freepdk4__________.add(gdstk.Reference(c_sram_32b_64_1rw_freepdk4_______, (2.8225,15.9425)))
c_sram_32b_64_1rw_freepdk4__________.add(gdstk.Reference(c_sram_32b_64_1rw_freepdk4________, (2.8225,15.9425)))
c_sram_32b_64_1rw_freepdk4__________.add(gdstk.Reference(c_sram_32b_64_1rw_freepdk4_______, (0.0725,15.9425)))
c_sram_32b_64_1rw_freepdk4__________.add(gdstk.Reference(c_sram_32b_64_1rw_freepdk4_______, (0.305,15.9425)))
c_sram_32b_64_1rw_freepdk4__________.add(gdstk.Reference(c_sram_32b_64_1rw_freepdk4________, (0.305,15.9425)))
c_sram_32b_64_1rw_freepdk4__________.add(gdstk.Reference(c_sram_32b_64_1rw_freepdk4_______, (0.76,18.5025)))
c_sram_32b_64_1rw_freepdk4__________.add(gdstk.Reference(c_sram_32b_64_1rw_freepdk4________, (0.76,18.5025)))
c_sram_32b_64_1rw_freepdk4__________.add(gdstk.Reference(c_sram_32b_64_1rw_freepdk4_______, (1.4475,18.5025)))
c_sram_32b_64_1rw_freepdk4__________.add(gdstk.Reference(c_sram_32b_64_1rw_freepdk4________, (1.4475,18.5025)))
c_sram_32b_64_1rw_freepdk4__________.add(gdstk.Reference(c_sram_32b_64_1rw_freepdk4_______, (2.135,18.5025)))
c_sram_32b_64_1rw_freepdk4__________.add(gdstk.Reference(c_sram_32b_64_1rw_freepdk4________, (2.135,18.5025)))
c_sram_32b_64_1rw_freepdk4__________.add(gdstk.Reference(c_sram_32b_64_1rw_freepdk4_______, (2.8225,18.5025)))
c_sram_32b_64_1rw_freepdk4__________.add(gdstk.Reference(c_sram_32b_64_1rw_freepdk4________, (2.8225,18.5025)))
c_sram_32b_64_1rw_freepdk4__________.add(gdstk.Reference(c_sram_32b_64_1rw_freepdk4_______, (0.0725,18.5025)))
c_sram_32b_64_1rw_freepdk4__________.add(gdstk.Reference(c_sram_32b_64_1rw_freepdk4_______, (0.305,18.5025)))
c_sram_32b_64_1rw_freepdk4__________.add(gdstk.Reference(c_sram_32b_64_1rw_freepdk4________, (0.305,18.5025)))
c_sram_32b_64_1rw_freepdk4__________.add(gdstk.Reference(c_sram_32b_64_1rw_freepdk4_______, (0.76,20.8825)))
c_sram_32b_64_1rw_freepdk4__________.add(gdstk.Reference(c_sram_32b_64_1rw_freepdk4________, (0.76,20.8825)))
c_sram_32b_64_1rw_freepdk4__________.add(gdstk.Reference(c_sram_32b_64_1rw_freepdk4_______, (1.4475,20.8825)))
c_sram_32b_64_1rw_freepdk4__________.add(gdstk.Reference(c_sram_32b_64_1rw_freepdk4________, (1.4475,20.8825)))
c_sram_32b_64_1rw_freepdk4__________.add(gdstk.Reference(c_sram_32b_64_1rw_freepdk4_______, (2.135,20.8825)))
c_sram_32b_64_1rw_freepdk4__________.add(gdstk.Reference(c_sram_32b_64_1rw_freepdk4________, (2.135,20.8825)))
c_sram_32b_64_1rw_freepdk4__________.add(gdstk.Reference(c_sram_32b_64_1rw_freepdk4_______, (2.8225,20.8825)))
c_sram_32b_64_1rw_freepdk4__________.add(gdstk.Reference(c_sram_32b_64_1rw_freepdk4________, (2.8225,20.8825)))
c_sram_32b_64_1rw_freepdk4__________.add(gdstk.Reference(c_sram_32b_64_1rw_freepdk4_______, (0.0725,20.8825)))
c_sram_32b_64_1rw_freepdk4__________.add(gdstk.Reference(c_sram_32b_64_1rw_freepdk4_______, (0.305,20.8825)))
c_sram_32b_64_1rw_freepdk4__________.add(gdstk.Reference(c_sram_32b_64_1rw_freepdk4________, (0.305,20.8825)))
c_sram_32b_64_1rw_freepdk4__________.add(gdstk.Reference(c_sram_32b_64_1rw_freepdk4_______, (0.62,2.4025)))
c_sram_32b_64_1rw_freepdk4__________.add(gdstk.Reference(c_sram_32b_64_1rw_freepdk4________, (0.62,2.4025)))
c_sram_32b_64_1rw_freepdk4__________.add(gdstk.Reference(c_sram_32b_64_1rw_freepdk4_________, (0.6175,2.4)))
c_sram_32b_64_1rw_freepdk4__________.add(gdstk.Reference(c_sram_32b_64_1rw_freepdk4_______, (0.62,2.4025)))
c_sram_32b_64_1rw_freepdk4__________.add(gdstk.Reference(c_sram_32b_64_1rw_freepdk4________, (0.62,2.4025)))
c_sram_32b_64_1rw_freepdk4__________.add(gdstk.Reference(c_sram_32b_64_1rw_freepdk4_________, (0.6175,2.4)))
c_sram_32b_64_1rw_freepdk4__________.add(gdstk.Reference(c_sram_32b_64_1rw_freepdk4_______, (0.62,7.3425)))
c_sram_32b_64_1rw_freepdk4__________.add(gdstk.Reference(c_sram_32b_64_1rw_freepdk4________, (0.62,7.3425)))
c_sram_32b_64_1rw_freepdk4__________.add(gdstk.Reference(c_sram_32b_64_1rw_freepdk4_________, (0.6175,7.34)))
c_sram_32b_64_1rw_freepdk4__________.add(gdstk.Reference(c_sram_32b_64_1rw_freepdk4_______, (0.62,7.3425)))
c_sram_32b_64_1rw_freepdk4__________.add(gdstk.Reference(c_sram_32b_64_1rw_freepdk4________, (0.62,7.3425)))
c_sram_32b_64_1rw_freepdk4__________.add(gdstk.Reference(c_sram_32b_64_1rw_freepdk4_________, (0.6175,7.34)))
c_sram_32b_64_1rw_freepdk4__________.add(gdstk.Reference(c_sram_32b_64_1rw_freepdk4_______, (0.62,12.2825)))
c_sram_32b_64_1rw_freepdk4__________.add(gdstk.Reference(c_sram_32b_64_1rw_freepdk4________, (0.62,12.2825)))
c_sram_32b_64_1rw_freepdk4__________.add(gdstk.Reference(c_sram_32b_64_1rw_freepdk4_________, (0.6175,12.28)))
c_sram_32b_64_1rw_freepdk4__________.add(gdstk.Reference(c_sram_32b_64_1rw_freepdk4_______, (0.62,12.2825)))
c_sram_32b_64_1rw_freepdk4__________.add(gdstk.Reference(c_sram_32b_64_1rw_freepdk4________, (0.62,12.2825)))
c_sram_32b_64_1rw_freepdk4__________.add(gdstk.Reference(c_sram_32b_64_1rw_freepdk4_________, (0.6175,12.28)))
c_sram_32b_64_1rw_freepdk4__________.add(gdstk.Reference(c_sram_32b_64_1rw_freepdk4_______, (0.62,17.2225)))
c_sram_32b_64_1rw_freepdk4__________.add(gdstk.Reference(c_sram_32b_64_1rw_freepdk4________, (0.62,17.2225)))
c_sram_32b_64_1rw_freepdk4__________.add(gdstk.Reference(c_sram_32b_64_1rw_freepdk4_________, (0.6175,17.22)))
c_sram_32b_64_1rw_freepdk4__________.add(gdstk.Reference(c_sram_32b_64_1rw_freepdk4_______, (0.62,17.2225)))
c_sram_32b_64_1rw_freepdk4__________.add(gdstk.Reference(c_sram_32b_64_1rw_freepdk4________, (0.62,17.2225)))
c_sram_32b_64_1rw_freepdk4__________.add(gdstk.Reference(c_sram_32b_64_1rw_freepdk4_________, (0.6175,17.22)))
c_sram_32b_64_1rw_freepdk4__________.add(gdstk.Reference(c_sram_32b_64_1rw_freepdk4_______, (0.62,22.1625)))
c_sram_32b_64_1rw_freepdk4__________.add(gdstk.Reference(c_sram_32b_64_1rw_freepdk4________, (0.62,22.1625)))
c_sram_32b_64_1rw_freepdk4__________.add(gdstk.Reference(c_sram_32b_64_1rw_freepdk4_________, (0.6175,22.16)))
c_sram_32b_64_1rw_freepdk4__________.add(gdstk.Reference(c_sram_32b_64_1rw_freepdk4_______, (2.6825,-0.0675)))
c_sram_32b_64_1rw_freepdk4__________.add(gdstk.Reference(c_sram_32b_64_1rw_freepdk4________, (2.6825,-0.0675)))
c_sram_32b_64_1rw_freepdk4__________.add(gdstk.Reference(c_sram_32b_64_1rw_freepdk4_________, (2.68,-0.07)))
c_sram_32b_64_1rw_freepdk4__________.add(gdstk.Reference(c_sram_32b_64_1rw_freepdk4_______, (2.6825,4.8725)))
c_sram_32b_64_1rw_freepdk4__________.add(gdstk.Reference(c_sram_32b_64_1rw_freepdk4________, (2.6825,4.8725)))
c_sram_32b_64_1rw_freepdk4__________.add(gdstk.Reference(c_sram_32b_64_1rw_freepdk4_________, (2.68,4.87)))
c_sram_32b_64_1rw_freepdk4__________.add(gdstk.Reference(c_sram_32b_64_1rw_freepdk4_______, (2.6825,4.8725)))
c_sram_32b_64_1rw_freepdk4__________.add(gdstk.Reference(c_sram_32b_64_1rw_freepdk4________, (2.6825,4.8725)))
c_sram_32b_64_1rw_freepdk4__________.add(gdstk.Reference(c_sram_32b_64_1rw_freepdk4_________, (2.68,4.87)))
c_sram_32b_64_1rw_freepdk4__________.add(gdstk.Reference(c_sram_32b_64_1rw_freepdk4_______, (2.6825,9.8125)))
c_sram_32b_64_1rw_freepdk4__________.add(gdstk.Reference(c_sram_32b_64_1rw_freepdk4________, (2.6825,9.8125)))
c_sram_32b_64_1rw_freepdk4__________.add(gdstk.Reference(c_sram_32b_64_1rw_freepdk4_________, (2.68,9.81)))
c_sram_32b_64_1rw_freepdk4__________.add(gdstk.Reference(c_sram_32b_64_1rw_freepdk4_______, (2.6825,9.8125)))
c_sram_32b_64_1rw_freepdk4__________.add(gdstk.Reference(c_sram_32b_64_1rw_freepdk4________, (2.6825,9.8125)))
c_sram_32b_64_1rw_freepdk4__________.add(gdstk.Reference(c_sram_32b_64_1rw_freepdk4_________, (2.68,9.81)))
c_sram_32b_64_1rw_freepdk4__________.add(gdstk.Reference(c_sram_32b_64_1rw_freepdk4_______, (2.6825,14.7525)))
c_sram_32b_64_1rw_freepdk4__________.add(gdstk.Reference(c_sram_32b_64_1rw_freepdk4________, (2.6825,14.7525)))
c_sram_32b_64_1rw_freepdk4__________.add(gdstk.Reference(c_sram_32b_64_1rw_freepdk4_________, (2.68,14.75)))
c_sram_32b_64_1rw_freepdk4__________.add(gdstk.Reference(c_sram_32b_64_1rw_freepdk4_______, (2.6825,14.7525)))
c_sram_32b_64_1rw_freepdk4__________.add(gdstk.Reference(c_sram_32b_64_1rw_freepdk4________, (2.6825,14.7525)))
c_sram_32b_64_1rw_freepdk4__________.add(gdstk.Reference(c_sram_32b_64_1rw_freepdk4_________, (2.68,14.75)))
c_sram_32b_64_1rw_freepdk4__________.add(gdstk.Reference(c_sram_32b_64_1rw_freepdk4_______, (2.6825,19.6925)))
c_sram_32b_64_1rw_freepdk4__________.add(gdstk.Reference(c_sram_32b_64_1rw_freepdk4________, (2.6825,19.6925)))
c_sram_32b_64_1rw_freepdk4__________.add(gdstk.Reference(c_sram_32b_64_1rw_freepdk4_________, (2.68,19.69)))
c_sram_32b_64_1rw_freepdk4__________.add(gdstk.Reference(c_sram_32b_64_1rw_freepdk4_______, (2.6825,19.6925)))
c_sram_32b_64_1rw_freepdk4__________.add(gdstk.Reference(c_sram_32b_64_1rw_freepdk4________, (2.6825,19.6925)))
c_sram_32b_64_1rw_freepdk4__________.add(gdstk.Reference(c_sram_32b_64_1rw_freepdk4_________, (2.68,19.69)))
c_sram_32b_64_1rw_freepdk4__________.add(gdstk.Reference(c_sram_32b_64_1rw_freepdk4_______, (-0.0675,1.1225)))
c_sram_32b_64_1rw_freepdk4__________.add(gdstk.Label('vdd', (0.6875,11.131), layer=17, texttype=0))
c_sram_32b_64_1rw_freepdk4__________.add(gdstk.Label('gnd', (2.75,11.099), layer=17, texttype=0))
c_sram_32b_64_1rw_freepdk4__________.add(gdstk.Label('in', (0,1.19), layer=13, texttype=0))
c_sram_32b_64_1rw_freepdk4__________.add(gdstk.Label('out', (2.89,20.95), layer=11, texttype=0))

lib.write_gds('sram_32b_64_1rw_freepdk45_delay_chain.gds')
